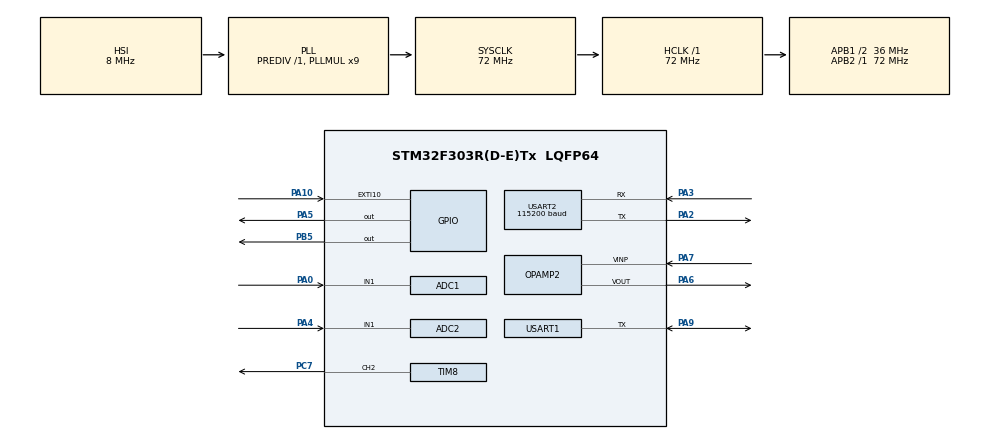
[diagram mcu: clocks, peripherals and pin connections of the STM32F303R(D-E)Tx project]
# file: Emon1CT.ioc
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ADC1.Channel-8\#ChannelRegularConversion=ADC_CHANNEL_1
ADC1.ClockPrescaler=ADC_CLOCK_SYNC_PCLK_DIV1
ADC1.ContinuousConvMode=ENABLE
ADC1.DMAContinuousRequests=ENABLE
ADC1.DataAlign=ADC_DATAALIGN_RIGHT
ADC1.DiscontinuousConvMode=DISABLE
ADC1.EOCSelection=ADC_EOC_SEQ_CONV
ADC1.EnableAnalogWatchDog1=false
ADC1.EnableAnalogWatchDog2=false
ADC1.EnableAnalogWatchDog3=false
ADC1.EnableInjectedConversion=ENABLE
ADC1.EnableRegularConversion=ENABLE
ADC1.ExternalTrigConv=ADC_EXTERNALTRIGCONV_T8_TRGO2
ADC1.ExternalTrigConvEdge=ADC_EXTERNALTRIGCONVEDGE_RISING
ADC1.InjNumberOfConversion=0
ADC1.LowPowerAutoWait=DISABLE
ADC1.NbrOfConversion=1
ADC1.NbrOfConversionFlag=1
ADC1.Offset-8\#ChannelRegularConversion=0
ADC1.OffsetNumber-8\#ChannelRegularConversion=ADC_OFFSET_NONE
ADC1.Overrun=ADC_OVR_DATA_OVERWRITTEN
ADC1.Rank-8\#ChannelRegularConversion=1
ADC1.Resolution=ADC_RESOLUTION_12B
ADC1.SamplingTime-8\#ChannelRegularConversion=ADC_SAMPLETIME_601CYCLES_5
ADC1.ScanConvMode=ADC_SCAN_DISABLE
ADC1.master=1
ADC2.Channel-0\#ChannelRegularConversion=ADC_CHANNEL_1
ADC2.ClockPrescaler=ADC_CLOCK_SYNC_PCLK_DIV1
ADC2.ContinuousConvMode=ENABLE
ADC2.DMAContinuousRequests=ENABLE
ADC2.EOCSelection=ADC_EOC_SEQ_CONV
ADC2.ExternalTrigConv=ADC_EXTERNALTRIGCONV_T8_TRGO2
ADC2.NbrOfConversionFlag=1
ADC2.Offset-0\#ChannelRegularConversion=0
ADC2.OffsetNumber-0\#ChannelRegularConversion=ADC_OFFSET_NONE
ADC2.Rank-0\#ChannelRegularConversion=1
ADC2.SamplingTime-0\#ChannelRegularConversion=ADC_SAMPLETIME_601CYCLES_5
Dma.ADC1.1.Direction=DMA_PERIPH_TO_MEMORY
Dma.ADC1.1.Instance=DMA1_Channel1
Dma.ADC1.1.MemDataAlignment=DMA_MDATAALIGN_HALFWORD
Dma.ADC1.1.MemInc=DMA_MINC_ENABLE
Dma.ADC1.1.Mode=DMA_CIRCULAR
Dma.ADC1.1.PeriphDataAlignment=DMA_PDATAALIGN_HALFWORD
Dma.ADC1.1.PeriphInc=DMA_PINC_DISABLE
Dma.ADC1.1.Priority=DMA_PRIORITY_HIGH
Dma.ADC2.0.Direction=DMA_PERIPH_TO_MEMORY
Dma.ADC2.0.Instance=DMA2_Channel1
Dma.ADC2.0.MemDataAlignment=DMA_MDATAALIGN_HALFWORD
Dma.ADC2.0.MemInc=DMA_MINC_ENABLE
Dma.ADC2.0.Mode=DMA_CIRCULAR
Dma.ADC2.0.PeriphDataAlignment=DMA_PDATAALIGN_HALFWORD
Dma.ADC2.0.PeriphInc=DMA_PINC_DISABLE
Dma.ADC2.0.Priority=DMA_PRIORITY_HIGH
Dma.Request0=ADC2
Dma.Request1=ADC1
Dma.Request2=USART1_RX
Dma.Request3=USART1_TX
Dma.USART1_RX.2.Direction=DMA_PERIPH_TO_MEMORY
Dma.USART1_RX.2.Instance=DMA1_Channel5
Dma.USART1_RX.2.MemDataAlignment=DMA_MDATAALIGN_BYTE
Dma.USART1_RX.2.MemInc=DMA_MINC_ENABLE
Dma.USART1_RX.2.Mode=DMA_NORMAL
Dma.USART1_RX.2.PeriphDataAlignment=DMA_PDATAALIGN_BYTE
Dma.USART1_RX.2.PeriphInc=DMA_PINC_DISABLE
Dma.USART1_RX.2.Priority=DMA_PRIORITY_LOW
Dma.USART1_TX.3.Direction=DMA_MEMORY_TO_PERIPH
Dma.USART1_TX.3.Instance=DMA1_Channel4
Dma.USART1_TX.3.MemDataAlignment=DMA_MDATAALIGN_BYTE
Dma.USART1_TX.3.MemInc=DMA_MINC_ENABLE
Dma.USART1_TX.3.Mode=DMA_NORMAL
Dma.USART1_TX.3.PeriphDataAlignment=DMA_PDATAALIGN_BYTE
Dma.USART1_TX.3.PeriphInc=DMA_PINC_DISABLE
Dma.USART1_TX.3.Priority=DMA_PRIORITY_LOW
Mcu.Family=STM32F3
Mcu.Name=STM32F303R(D-E)Tx
Mcu.Package=LQFP64
NVIC.DMA1_Channel1_IRQn=true\:1\:0\:true\:false\:true\:false\:true
NVIC.DMA1_Channel4_IRQn=true\:0\:0\:false\:false\:true\:false\:true
NVIC.DMA1_Channel5_IRQn=true\:0\:0\:false\:false\:true\:false\:true
NVIC.DMA2_Channel1_IRQn=true\:1\:0\:true\:false\:true\:false\:true
NVIC.EXTI15_10_IRQn=true\:0\:0\:false\:false\:true\:true\:true
NVIC.PriorityGroup=NVIC_PRIORITYGROUP_4
NVIC.USART1_IRQn=true\:0\:0\:false\:false\:true\:true\:true
PA0.Mode=IN1-Single-Ended
PA0.Signal=ADC1_IN1
PA10.Signal=GPXTI10
PA2.Mode=Asynchronous
PA2.Signal=USART2_TX
PA3.Mode=Asynchronous
PA3.Signal=USART2_RX
PA4.Mode=IN1-Single-Ended
PA4.Signal=ADC2_IN1
PA5.Signal=GPIO_Output
PA6.Mode=Follower
PA6.Signal=OPAMP2_VOUT
PA7.Mode=Follower
PA7.Signal=OPAMP2_VINP
PA9.Mode=Half_duplex(single_wire_mode)
PA9.Signal=USART1_TX
PB5.Signal=GPIO_Output
PC7.Signal=S_TIM8_CH2
ProjectManager.HeapSize=0x200
ProjectManager.StackSize=0x400
ProjectManager.TargetToolchain=Makefile
RCC.AHBFreq_Value=72000000
RCC.APB1CLKDivider=RCC_HCLK_DIV2
RCC.APB1Freq_Value=36000000
RCC.APB1TimFreq_Value=72000000
RCC.APB2Freq_Value=72000000
RCC.APB2TimFreq_Value=72000000
RCC.CortexFreq_Value=72000000
RCC.HCLKFreq_Value=72000000
RCC.HSE_VALUE=8000000
RCC.HSI_VALUE=8000000
RCC.LSE_VALUE=32768
RCC.PLLMUL=RCC_PLL_MUL9
RCC.SYSCLKFreq_VALUE=72000000
RCC.SYSCLKSourceVirtual=RCC_SYSCLKSOURCE_PLLCLK
RCC.USBFreq_Value=72000000
SH.S_TIM8_CH2.0=TIM8_CH2,PWM Generation2 CH2
TIM8.Channel-PWM\ Generation2\ CH2=TIM_CHANNEL_2
TIM8.Period=9999
TIM8.Prescaler=71
TIM8.TIM_MasterOutputTrigger2=TIM_TRGO2_OC2REF
USART1.BaudRate=115200
USART1.VirtualMode-Half_duplex(single_wire_mode)=VM_ASYNC
USART1.WordLength=WORDLENGTH_8B
USART2.BaudRate=115200
USART2.VirtualMode-Asynchronous=VM_ASYNC
USART2.WordLength=WORDLENGTH_8B
board=Emon1CT

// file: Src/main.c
/**
  ******************************************************************************
  * @file           : main.c
  * @brief          : Main program body
  ******************************************************************************
  ** This notice applies to any and all portions of this file
  * that are not between comment pairs USER CODE BEGIN and
  * USER CODE END. Other portions of this file, whether
  * inserted by the user or by software development tools
  * are owned by their respective copyright owners.
  *
  * COPYRIGHT(c) 2018 STMicroelectronics
  *
  * Redistribution and use in source and binary forms, with or without modification,
  * are permitted provided that the following conditions are met:
  *   1. Redistributions of source code must retain the above copyright notice,
  *      this list of conditions and the following disclaimer.
  *   2. Redistributions in binary form must reproduce the above copyright notice,
  *      this list of conditions and the following disclaimer in the documentation
  *      and/or other materials provided with the distribution.
  *   3. Neither the name of STMicroelectronics nor the names of its contributors
  *      may be used to endorse or promote products derived from this software
  *      without specific prior written permission.
  *
  * THIS SOFTWARE IS PROVIDED BY THE COPYRIGHT HOLDERS AND CONTRIBUTORS "AS IS"
  * AND ANY EXPRESS OR IMPLIED WARRANTIES, INCLUDING, BUT NOT LIMITED TO, THE
  * IMPLIED WARRANTIES OF MERCHANTABILITY AND FITNESS FOR A PARTICULAR PURPOSE ARE
  * DISCLAIMED. IN NO EVENT SHALL THE COPYRIGHT HOLDER OR CONTRIBUTORS BE LIABLE
  * FOR ANY DIRECT, INDIRECT, INCIDENTAL, SPECIAL, EXEMPLARY, OR CONSEQUENTIAL
  * DAMAGES (INCLUDING, BUT NOT LIMITED TO, PROCUREMENT OF SUBSTITUTE GOODS OR
  * SERVICES; LOSS OF USE, DATA, OR PROFITS; OR BUSINESS INTERRUPTION) HOWEVER
  * CAUSED AND ON ANY THEORY OF LIABILITY, WHETHER IN CONTRACT, STRICT LIABILITY,
  * OR TORT (INCLUDING NEGLIGENCE OR OTHERWISE) ARISING IN ANY WAY OUT OF THE USE
  * OF THIS SOFTWARE, EVEN IF ADVISED OF THE POSSIBILITY OF SUCH DAMAGE.
  *
  ******************************************************************************
  */
#include "main.h"
#include "stm32f3xx_hal.h"
#include "adc.h"
#include "dma.h"
#include "opamp.h"
#include "tim.h"
#include "usart.h"
#include "gpio.h"

/* USER CODE BEGIN Includes */

#include "ds18b20.h"

/* USER CODE END Includes */

/* USER CODE BEGIN PV */
/* Private variables ---------------------------------------------------------*/

#define true 1
#define false 0
#define MID_ADC_READING 2048

// Serial output buffer
char log_buffer[100];

// Flag
int8_t readings_ready = false;

// Calibration
double VCAL = 268.97;
double ICAL = 20.0;

// ISR accumulators
int64_t sum_P = 0;
uint64_t sum_V_sq = 0;
uint64_t sum_I_sq = 0;
int64_t sum_V = 0;
int64_t sum_I = 0;
uint64_t count = 0;

// Copy for main loop processing
int64_t sum_P_copy;
uint64_t sum_V_sq_copy;
uint64_t sum_I_sq_copy;
int64_t sum_V_copy;
int64_t sum_I_copy;
uint64_t count_copy;

uint64_t pulseCount = 0;

uint8_t positive_V = 0;
uint8_t last_positive_V = 0;
uint8_t cycles = 0;

/* USER CODE END PV */

void SystemClock_Config(void);

/* USER CODE BEGIN PFP */
/* Private function prototypes -----------------------------------------------*/

/* USER CODE END PFP */

/* USER CODE BEGIN 0 */
void process_frame(uint16_t offset)
{
  int32_t sample_V, sample_I, signed_V, signed_I;

  HAL_GPIO_WritePin(GPIOB, GPIO_PIN_5, GPIO_PIN_SET);
  for (int i=0; i<2000; i++) {
    // ----------------------------------------
    // Voltage
    sample_V = adc1_dma_buff[offset+i];
    signed_V = sample_V - MID_ADC_READING;
    sum_V += signed_V;
    sum_V_sq += signed_V * signed_V;
    // ----------------------------------------
    // Current
    sample_I = adc2_dma_buff[offset+i];
    signed_I = sample_I - MID_ADC_READING;
    sum_I += signed_I;
    sum_I_sq += signed_I * signed_I;
    // ----------------------------------------
    // Power
    sum_P += signed_V * signed_I;

    count ++;

    // Zero crossing detection
    last_positive_V = positive_V;
    if (signed_V > 0) positive_V = true; else positive_V = false;
    if (!last_positive_V && positive_V) cycles++;

    // 125 cycles or 2.5 seconds
    if (cycles>=125) {
      cycles = 0;

      sum_P_copy = sum_P;
      sum_V_sq_copy = sum_V_sq;
      sum_I_sq_copy = sum_I_sq;
      sum_V_copy = sum_V;
      sum_I_copy = sum_I;
      count_copy = count;

      sum_P = 0;
      sum_V_sq = 0;
      sum_I_sq = 0;
      sum_V = 0;
      sum_I = 0;
      count = 0;

      readings_ready = true;
    }
  }
  HAL_GPIO_WritePin(GPIOB, GPIO_PIN_5, GPIO_PIN_RESET);
}

/* USER CODE END 0 */

int main(void)
{

  /* MCU Configuration----------------------------------------------------------*/

  /* Reset of all peripherals, Initializes the Flash interface and the Systick. */
  HAL_Init();

  /* USER CODE BEGIN Init */
  double V_RATIO = VCAL * (3.3 / 4096.0);
  double I_RATIO = ICAL * (3.3 / 4096.0);
  /* USER CODE END Init */

  /* Configure the system clock */
  SystemClock_Config();

  /* Initialize all configured peripherals */
  MX_GPIO_Init();
  MX_DMA_Init();
  MX_USART2_UART_Init();
  MX_ADC1_Init();
  MX_ADC2_Init();
  MX_TIM8_Init();
  MX_OPAMP2_Init();
  MX_USART1_UART_Init();
  /* USER CODE BEGIN 2 */

  HAL_OPAMP_Start(&hopamp2);

  sprintf(log_buffer,"init init_ds18b20s\r\n");
  debug_printf(log_buffer);

  init_ds18b20s();

  sprintf(log_buffer,"Vrms\tIrms\tRP\tAP\tPF\tCount\tPulse\r\n");
  debug_printf(log_buffer);

  start_ADCs();

  /* USER CODE END 2 */

  /* Infinite loop */
  /* USER CODE BEGIN WHILE */
  while (1)
  {
     if (readings_ready) {
       readings_ready = false;

       process_ds18b20s();

       double Vmean = sum_V_copy * (1.0 / count_copy);
       double Imean = sum_I_copy * (1.0 / count_copy);

       sum_V_sq_copy *= (1.0 / count_copy);
       sum_V_sq_copy -= (Vmean*Vmean);
       double Vrms = V_RATIO * sqrt((double)sum_V_sq_copy);

       sum_I_sq_copy *= (1.0 / count_copy);
       sum_I_sq_copy -= (Imean*Imean);
       double Irms = I_RATIO * sqrt((double)sum_I_sq_copy);

       double mean_P = (sum_P_copy * (1.0 / count_copy)) - (Vmean*Imean);
       double realPower = V_RATIO * I_RATIO * mean_P;

       double apparentPower = Vrms * Irms;
       double powerFactor = realPower / apparentPower;

       sprintf(log_buffer,"%.2f\t%.3f\t%.1f\t%.1f\t%.3f\t%d\t", Vrms, Irms, realPower, apparentPower, powerFactor, count_copy);
       debug_printf(log_buffer);

       sprintf(log_buffer,"%d\r\n",pulseCount);
       debug_printf(log_buffer);

     }
  /* USER CODE END WHILE */

  }

}

void SystemClock_Config(void)
{

  RCC_OscInitTypeDef RCC_OscInitStruct;
  RCC_ClkInitTypeDef RCC_ClkInitStruct;
  RCC_PeriphCLKInitTypeDef PeriphClkInit;

    /**Initializes the CPU, AHB and APB busses clocks
    */
  RCC_OscInitStruct.OscillatorType = RCC_OSCILLATORTYPE_HSI;
  RCC_OscInitStruct.HSIState = RCC_HSI_ON;
  RCC_OscInitStruct.HSICalibrationValue = 16;
  RCC_OscInitStruct.PLL.PLLState = RCC_PLL_ON;
  RCC_OscInitStruct.PLL.PLLSource = RCC_PLLSOURCE_HSI;
  RCC_OscInitStruct.PLL.PLLMUL = RCC_PLL_MUL9;
  RCC_OscInitStruct.PLL.PREDIV = RCC_PREDIV_DIV1;
  if (HAL_RCC_OscConfig(&RCC_OscInitStruct) != HAL_OK)
  {
    _Error_Handler(__FILE__, __LINE__);
  }

    /**Initializes the CPU, AHB and APB busses clocks
    */
  RCC_ClkInitStruct.ClockType = RCC_CLOCKTYPE_HCLK|RCC_CLOCKTYPE_SYSCLK
                              |RCC_CLOCKTYPE_PCLK1|RCC_CLOCKTYPE_PCLK2;
  RCC_ClkInitStruct.SYSCLKSource = RCC_SYSCLKSOURCE_PLLCLK;
  RCC_ClkInitStruct.AHBCLKDivider = RCC_SYSCLK_DIV1;
  RCC_ClkInitStruct.APB1CLKDivider = RCC_HCLK_DIV2;
  RCC_ClkInitStruct.APB2CLKDivider = RCC_HCLK_DIV1;

  if (HAL_RCC_ClockConfig(&RCC_ClkInitStruct, FLASH_LATENCY_2) != HAL_OK)
  {
    _Error_Handler(__FILE__, __LINE__);
  }

  PeriphClkInit.PeriphClockSelection = RCC_PERIPHCLK_USART1|RCC_PERIPHCLK_USART2
                              |RCC_PERIPHCLK_TIM8;
  PeriphClkInit.Usart1ClockSelection = RCC_USART1CLKSOURCE_PCLK2;
  PeriphClkInit.Usart2ClockSelection = RCC_USART2CLKSOURCE_PCLK1;
  PeriphClkInit.Tim8ClockSelection = RCC_TIM8CLK_HCLK;
  if (HAL_RCCEx_PeriphCLKConfig(&PeriphClkInit) != HAL_OK)
  {
    _Error_Handler(__FILE__, __LINE__);
  }

    /**Configure the Systick interrupt time
    */
  HAL_SYSTICK_Config(HAL_RCC_GetHCLKFreq()/1000);

    /**Configure the Systick
    */
  HAL_SYSTICK_CLKSourceConfig(SYSTICK_CLKSOURCE_HCLK);

  /* SysTick_IRQn interrupt configuration */
  HAL_NVIC_SetPriority(SysTick_IRQn, 0, 0);
}

/* USER CODE BEGIN 4 */

void onPulse() {
    pulseCount ++;
}

/* USER CODE END 4 */

void _Error_Handler(char *file, int line)
{
  while(1)
  {
  }
}

/************************ (C) COPYRIGHT STMicroelectronics *****END OF FILE****/
